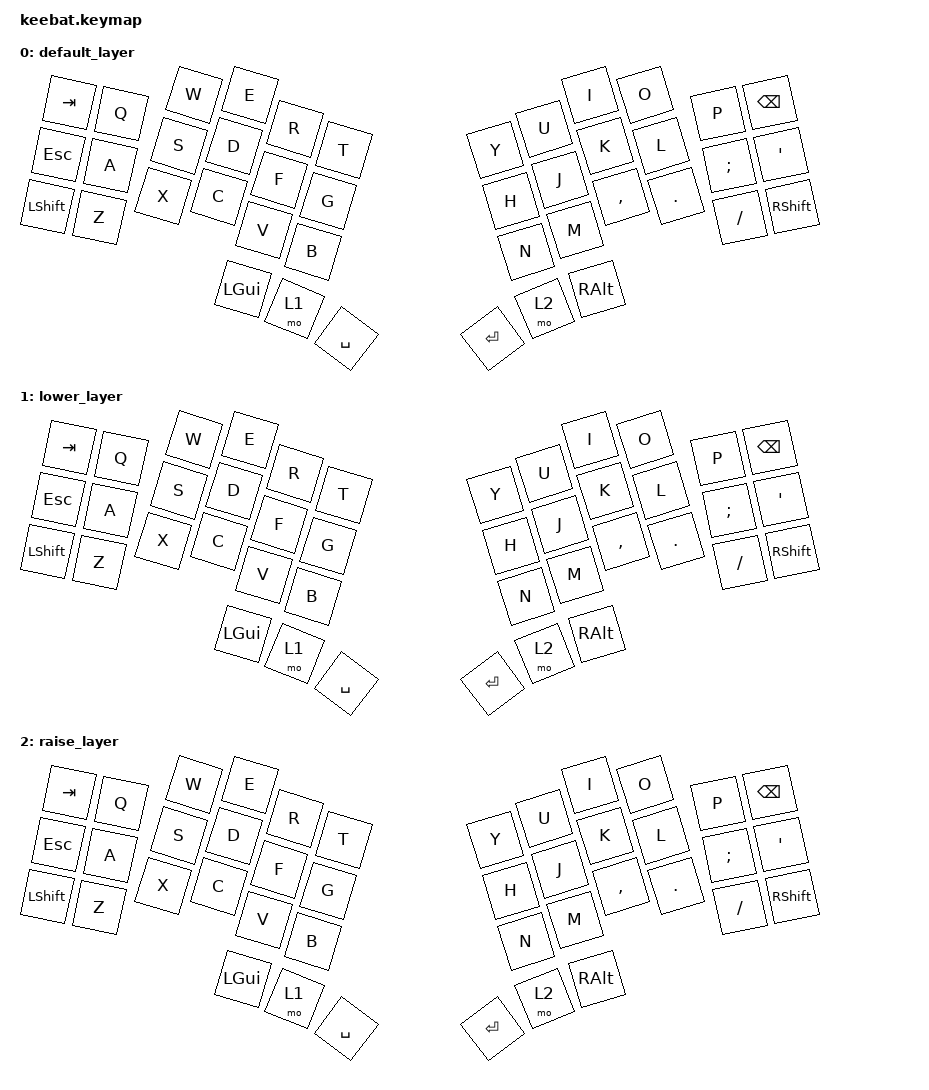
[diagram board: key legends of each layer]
#include <behaviors.dtsi>
#include <dt-bindings/zmk/keys.h>
#include <dt-bindings/zmk/bt.h>

/ {
    keymap {
        compatible = "zmk,keymap";

        default_layer { 
            bindings = <
                   &kp TAB   &kp Q &kp W &kp E &kp R &kp T   &kp Y &kp U  &kp I     &kp O   &kp P    &kp BSPC
                   &kp ESC &kp A &kp S &kp D &kp F &kp G   &kp H &kp J  &kp K     &kp L   &kp SEMI &kp SQT
                   &kp LSHFT &kp Z &kp X &kp C &kp V &kp B   &kp N &kp M  &kp COMMA &kp DOT &kp FSLH &kp RSHFT 
                                         &kp LGUI &mo 1 &kp SPACE   &kp RET &mo 2 &kp RALT
            >;
        };

        lower_layer{ 
            bindings = <
                   &kp TAB   &kp Q &kp W &kp E &kp R &kp T   &kp Y &kp U  &kp I     &kp O   &kp P    &kp BSPC
                   &kp ESC &kp A &kp S &kp D &kp F &kp G   &kp H &kp J  &kp K     &kp L   &kp SEMI &kp SQT
                   &kp LSHFT &kp Z &kp X &kp C &kp V &kp B   &kp N &kp M  &kp COMMA &kp DOT &kp FSLH &kp RSHFT 
                                         &kp LGUI &mo 1 &kp SPACE   &kp RET &mo 2 &kp RALT
            >;
        };

        raise_layer{ 
            bindings = <
                   &kp TAB   &kp Q &kp W &kp E &kp R &kp T   &kp Y &kp U  &kp I     &kp O   &kp P    &kp BSPC
                   &kp ESC &kp A &kp S &kp D &kp F &kp G   &kp H &kp J  &kp K     &kp L   &kp SEMI &kp SQT
                   &kp LSHFT &kp Z &kp X &kp C &kp V &kp B   &kp N &kp M  &kp COMMA &kp DOT &kp FSLH &kp RSHFT 
                                         &kp LGUI &mo 1 &kp SPACE   &kp RET &mo 2 &kp RALT
            >;
        };
    };
    };

 };
